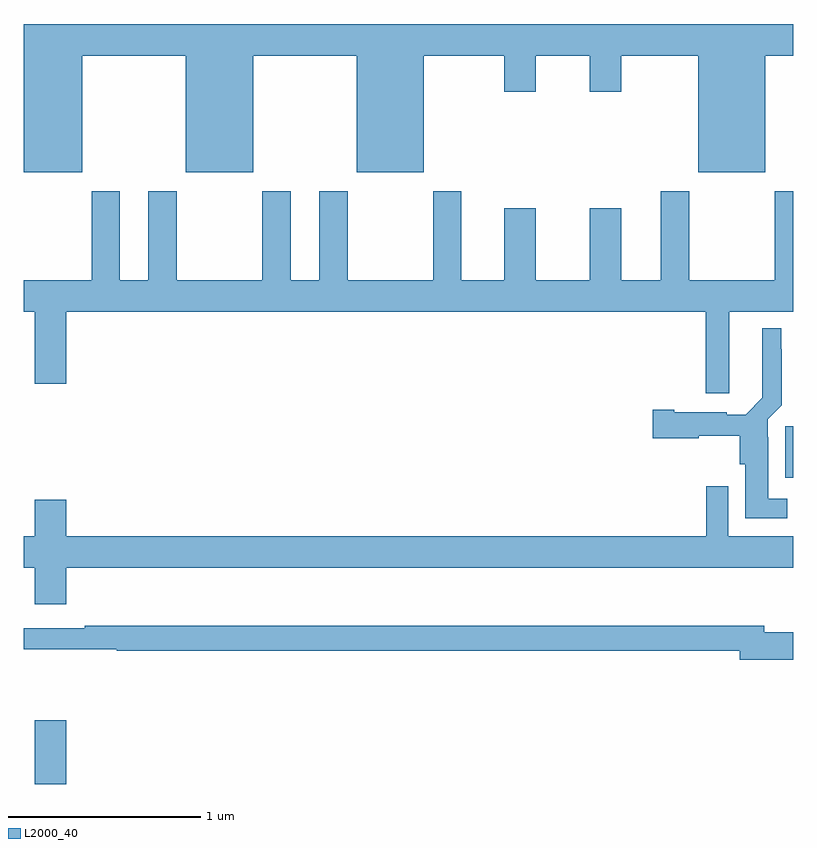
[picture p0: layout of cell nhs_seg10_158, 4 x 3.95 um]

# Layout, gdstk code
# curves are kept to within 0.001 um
import gdstk
lib = gdstk.Library(unit=1e-6, precision=1e-09)
def R(c, l, rs):  # rectangles x0, y0, x1, y1
    for r in rs: c.add(gdstk.rectangle(r[:2], r[2:], *l))
def P(c, l, *ps):  # polygons
    for p in ps: c.add(gdstk.Polygon(p, *l))
L2000_40 = (2000, 40)

nhs_seg10_158 = lib.new_cell('nhs_seg10_158')
R(nhs_seg10_158, L2000_40, [(117.056,1324.5,117.22,1324.831), (120.959,1326.093,121,1326.361)])
P(nhs_seg10_158, L2000_40, [(117.304,1328.288),(117.842,1328.288),(117.842,1327.682),(118.192,1327.682),(118.192,1328.288),(118.73,1328.288),(118.73,1327.682),(119.08,1327.682),(119.08,1328.288),(119.498,1328.288),(119.498,1328.1),(119.662,1328.1),(119.662,1328.288),(119.942,1328.288),(119.942,1328.1),(120.106,1328.1),(120.106,1328.288),(120.506,1328.288),(120.506,1327.682),(120.856,1327.682),(120.856,1328.288),(121,1328.288),(121,1328.452),(117,1328.452),(117,1327.682),(117.304,1327.682)],
  [(119.128,1327.582),(119.128,1327.12),(118.683,1327.12),(118.683,1327.582),(118.535,1327.582),(118.535,1327.12),(118.387,1327.12),(118.387,1327.582),(118.24,1327.582),(118.24,1327.12),(117.795,1327.12),(117.795,1327.582),(117.647,1327.582),(117.647,1327.12),(117.499,1327.12),(117.499,1327.582),(117.352,1327.582),(117.352,1327.12),(117,1327.12),(117,1326.956),(117.056,1326.956),(117.056,1326.582),(117.22,1326.582),(117.22,1326.956),(120.545,1326.956),(120.545,1326.531),(120.667,1326.531),(120.667,1326.956),(121,1326.956),(121,1327.582),(120.904,1327.582),(120.904,1327.12),(120.459,1327.12),(120.459,1327.582),(120.311,1327.582),(120.311,1327.12),(120.106,1327.12),(120.106,1327.495),(119.942,1327.495),(119.942,1327.12),(119.662,1327.12),(119.662,1327.495),(119.498,1327.495),(119.498,1327.12),(119.275,1327.12),(119.275,1327.582)],
  [(120.97,1325.983),(120.871,1325.983),(120.871,1326.302),(120.867,1326.302),(120.867,1326.396),(120.941,1326.47),(120.941,1326.761),(120.937,1326.761),(120.937,1326.871),(120.839,1326.871),(120.84,1326.508),(120.753,1326.421),(120.654,1326.421),(120.654,1326.433),(120.382,1326.433),(120.382,1326.446),(120.27,1326.446),(120.27,1326.299),(120.51,1326.299),(120.51,1326.311),(120.722,1326.311),(120.722,1326.162),(120.752,1326.162),(120.752,1325.882),(120.97,1325.882)],
  [(117.22,1325.624),(121,1325.624),(121,1325.788),(120.663,1325.788),(120.663,1326.049),(120.547,1326.049),(120.547,1325.788),(117.22,1325.788),(117.22,1325.977),(117.056,1325.977),(117.056,1325.788),(117,1325.788),(117,1325.624),(117.056,1325.624),(117.056,1325.436),(117.22,1325.436)],
  [(121,1325.289),(120.85,1325.289),(120.85,1325.323),(117.316,1325.323),(117.316,1325.31),(117,1325.31),(117,1325.202),(117.482,1325.202),(117.482,1325.194),(120.722,1325.194),(120.722,1325.147),(121,1325.147)])

lib.write_gds('nhs_seg10_158.gds')
